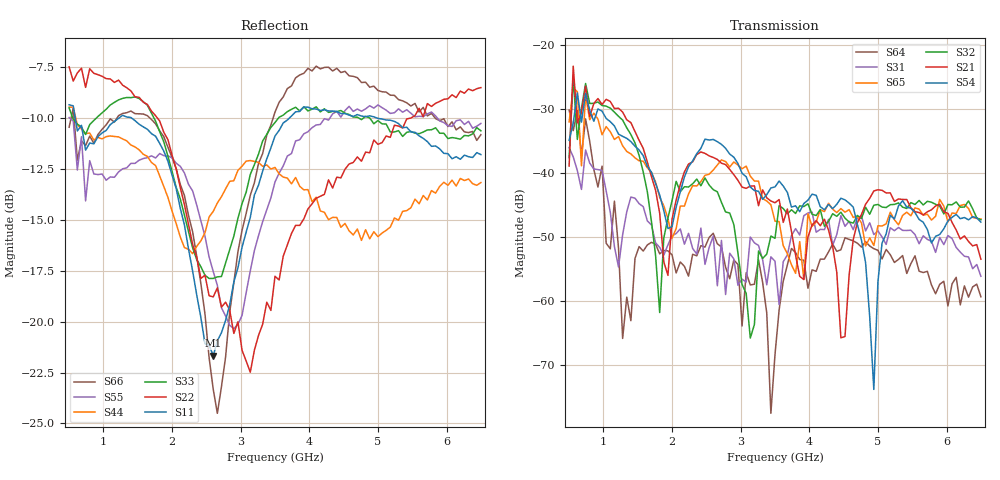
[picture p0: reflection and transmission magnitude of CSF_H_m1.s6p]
!Keysight Technologies,M9804A,MY58100912,A.14.10.03
!Date: Thursday, April 27, 2023 10:28:33
!Correction: S11(C  6-Port  )
!S12(C  6-Port  )
!S13(C  6-Port  )
!S14(C  6-Port  )
!S15(C  6-Port  )
!S16(C  6-Port  )
!S21(C  6-Port  )
!S22(C  6-Port  )
!S23(C  6-Port  )
!S24(C  6-Port  )
!S25(C  6-Port  )
!S26(C  6-Port  )
!S31(C  6-Port  )
!S32(C  6-Port  )
!S33(C  6-Port  )
!S34(C  6-Port  )
!S35(C  6-Port  )
!S36(C  6-Port  )
!S41(C  6-Port  )
!S42(C  6-Port  )
!S43(C  6-Port  )
!S44(C  6-Port  )
!S45(C  6-Port  )
!S46(C  6-Port  )
!S51(C  6-Port  )
!S52(C  6-Port  )
!S53(C  6-Port  )
!S54(C  6-Port  )
!S55(C  6-Port  )
!S56(C  6-Port  )
!S61(C  6-Port  )
!S62(C  6-Port  )
!S63(C  6-Port  )
!S64(C  6-Port  )
!S65(C  6-Port  )
!S66(C  6-Port  )
!S6P File: Measurement: :
# Hz S  RI  R 50
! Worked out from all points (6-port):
!   101 points, 500 MHz to 6.5 GHz, reference 50 ohm
!   strongest paths, dB at 500 MHz, 2 GHz, 3.5 GHz, 5 GHz, 6.5 GHz:
!     S54: -34.9, -48.4, -42.2, -57.0, -47.7
!     S21: -38.9, -47.2, -44.6, -42.6, -53.5
!     S32: -37.6, -44.3, -50.2, -44.9, -47.3
!     S65: -32.0, -50.2, -47.5, -48.2, -47.2
!     S31: -36.0, -49.8, -53.8, -49.1, -56.1
!     S64: -30.1, -52.8, -68.4, -52.1, -59.4
!   lowest |S11| = -21.7 dB at 2.6 GHz (marker M1), VSWR 1.18, Z = 42.6 + j2 ohm
!   |S11| at or under -10 dB: 588.2 MHz to 1.235 GHz (647.1 MHz wide, 71 % of centre); 1.402 GHz to 3.717 GHz (2.315 GHz wide, 90.5 % of centre); 4.969 GHz to end of sweep
